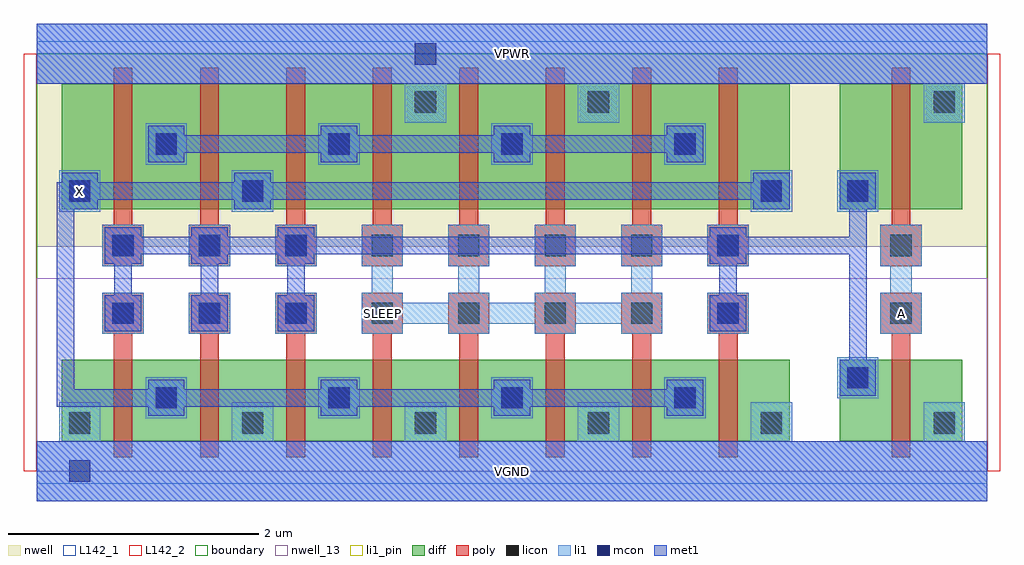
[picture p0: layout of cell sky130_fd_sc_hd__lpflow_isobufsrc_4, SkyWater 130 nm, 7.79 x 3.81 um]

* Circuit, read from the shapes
.subckt sky130_fd_sc_hd__lpflow_isobufsrc_4 A SLEEP VGND VPWR X
XM1 X n1 VGND VSUBS sky130_fd_pr__nfet_01v8 w=0.65 l=0.15 m=4
XM2 VGND SLEEP X VSUBS sky130_fd_pr__nfet_01v8 w=0.65 l=0.15 m=4
XM3 VGND A n1 VSUBS sky130_fd_pr__nfet_01v8 w=0.65 l=0.15
XM4 n2 n1 X n3 sky130_fd_pr__pfet_01v8 w=1 l=0.15 m=4
XM5 VPWR SLEEP n2 n3 sky130_fd_pr__pfet_01v8 w=1 l=0.15 m=4
XM6 VPWR A n1 n3 sky130_fd_pr__pfet_01v8 w=1 l=0.15
.ends

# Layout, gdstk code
import gdstk
lib = gdstk.Library(unit=1e-6, precision=1e-09)
def R(c, l, rs):  # rectangles x0, y0, x1, y1
    for r in rs: c.add(gdstk.rectangle(r[:2], r[2:], *l))
def A(c, l, x, y, w, h, nx, ny, dx, dy):  # array of equal rectangles
    R(c, l, [(x+i*dx, y+j*dy, x+i*dx+w, y+j*dy+h) for i in range(nx) for j in range(ny)])
def P(c, l, *ps):  # polygons
    for p in ps: c.add(gdstk.Polygon(p, *l))
nwell_13 = (64, 13)
nwell = (64, 20)
diff = (65, 20)
poly = (66, 20)
licon = (66, 44)
li1_pin = (67, 16)
li1 = (67, 20)
mcon = (67, 44)
met1 = (68, 20)
L142_1 = (142, 1)
L142_2 = (142, 2)
boundary = (235, 4)

sky130_fd_sc_hd__lpflow_ = lib.new_cell('sky130_fd_sc_hd__lpflow_isobufsrc_4')
R(sky130_fd_sc_hd__lpflow_, nwell_13, [(0,0,7.59,1.54)])
R(sky130_fd_sc_hd__lpflow_, nwell, [(0,1.79,7.59,3.33)])
A(sky130_fd_sc_hd__lpflow_, diff, 0.615, 0.24, 0.69, 0.65, 7, 1, 0.69, 0)
A(sky130_fd_sc_hd__lpflow_, diff, 0.615, 2.09, 0.69, 1, 7, 1, 0.69, 0)
R(sky130_fd_sc_hd__lpflow_, diff, [(0.2,0.24,6.01,0.89), (0.2,0.24,0.615,0.89), (5.445,0.24,6.01,0.89), (6.41,0.24,7.39,0.89), (6.41,0.24,6.825,0.89), (6.825,0.24,7.39,0.89), (0.2,2.09,6.01,3.09), (0.2,2.09,0.615,3.09), (5.445,2.09,6.01,3.09), (6.41,2.09,7.39,3.09), (6.41,2.09,6.825,3.09), (6.825,2.09,7.39,3.09)])
P(sky130_fd_sc_hd__lpflow_, poly, [(2.685,0.11),(2.685,1.095),(2.595,1.095),(2.595,1.425),(2.925,1.425),(2.925,1.095),(2.835,1.095),(2.835,0.11)],
  [(3.375,0.11),(3.375,1.095),(3.285,1.095),(3.285,1.425),(3.615,1.425),(3.615,1.095),(3.525,1.095),(3.525,0.11)],
  [(4.065,0.11),(4.065,1.095),(3.975,1.095),(3.975,1.425),(4.305,1.425),(4.305,1.095),(4.215,1.095),(4.215,0.11)],
  [(4.755,0.11),(4.755,1.095),(4.665,1.095),(4.665,1.425),(4.995,1.425),(4.995,1.095),(4.905,1.095),(4.905,0.11)],
  [(2.595,1.635),(2.595,1.965),(2.685,1.965),(2.685,3.22),(2.835,3.22),(2.835,1.965),(2.925,1.965),(2.925,1.635)],
  [(3.285,1.635),(3.285,1.965),(3.375,1.965),(3.375,3.22),(3.525,3.22),(3.525,1.965),(3.615,1.965),(3.615,1.635)],
  [(3.975,1.635),(3.975,1.965),(4.065,1.965),(4.065,3.22),(4.215,3.22),(4.215,1.965),(4.305,1.965),(4.305,1.635)],
  [(4.665,1.635),(4.665,1.965),(4.755,1.965),(4.755,3.22),(4.905,3.22),(4.905,1.965),(4.995,1.965),(4.995,1.635)],
  [(6.825,0.11),(6.825,1.095),(6.735,1.095),(6.735,1.425),(7.065,1.425),(7.065,1.095),(6.975,1.095),(6.975,0.11)],
  [(6.735,1.635),(6.735,1.965),(6.825,1.965),(6.825,3.22),(6.975,3.22),(6.975,1.965),(7.065,1.965),(7.065,1.635)],
  [(0.615,0.11),(0.615,1.095),(0.525,1.095),(0.525,1.425),(0.855,1.425),(0.855,1.095),(0.765,1.095),(0.765,0.11)],
  [(1.305,0.11),(1.305,1.095),(1.215,1.095),(1.215,1.425),(1.545,1.425),(1.545,1.095),(1.455,1.095),(1.455,0.11)],
  [(1.995,0.11),(1.995,1.095),(1.905,1.095),(1.905,1.425),(2.235,1.425),(2.235,1.095),(2.145,1.095),(2.145,0.11)],
  [(5.445,0.11),(5.445,1.095),(5.355,1.095),(5.355,1.425),(5.685,1.425),(5.685,1.095),(5.595,1.095),(5.595,0.11)],
  [(0.525,1.635),(0.525,1.965),(0.615,1.965),(0.615,3.22),(0.765,3.22),(0.765,1.965),(0.855,1.965),(0.855,1.635)],
  [(1.215,1.635),(1.215,1.965),(1.305,1.965),(1.305,3.22),(1.455,3.22),(1.455,1.965),(1.545,1.965),(1.545,1.635)],
  [(1.905,1.635),(1.905,1.965),(1.995,1.965),(1.995,3.22),(2.145,3.22),(2.145,1.965),(2.235,1.965),(2.235,1.635)],
  [(5.355,1.635),(5.355,1.965),(5.445,1.965),(5.445,3.22),(5.595,3.22),(5.595,1.965),(5.685,1.965),(5.685,1.635)])
A(sky130_fd_sc_hd__lpflow_, licon, 0.26, 0.3, 0.17, 0.17, 6, 1, 1.38, 0)
A(sky130_fd_sc_hd__lpflow_, licon, 0.95, 0.5, 0.17, 0.17, 4, 2, 1.38, 2.025)
A(sky130_fd_sc_hd__lpflow_, licon, 0.605, 1.175, 0.17, 0.17, 8, 2, 0.69, 0.54)
R(sky130_fd_sc_hd__lpflow_, licon, [(6.47,0.66,6.64,0.83), (6.815,1.175,6.985,1.345), (6.815,1.715,6.985,1.885), (0.26,2.15,0.43,2.32), (1.64,2.15,1.81,2.32), (5.78,2.15,5.95,2.32), (6.47,2.15,6.64,2.32), (3.02,2.86,3.19,3.03), (4.4,2.86,4.57,3.03), (7.16,2.86,7.33,3.03)])
R(sky130_fd_sc_hd__lpflow_, li1_pin, [(0,-0.24,7.59,0.24), (0.18,2.07,0.51,2.4), (0,3.09,7.59,3.57)])
P(sky130_fd_sc_hd__lpflow_, li1_pin, [(2.595,1.095),(2.595,1.425),(2.675,1.425),(2.675,1.635),(2.595,1.635),(2.595,1.965),(2.925,1.965),(2.925,1.635),(2.845,1.635),(2.845,1.425),(2.925,1.425),(2.925,1.345),(3.285,1.345),(3.285,1.425),(3.365,1.425),(3.365,1.635),(3.285,1.635),(3.285,1.965),(3.615,1.965),(3.615,1.635),(3.535,1.635),(3.535,1.425),(3.615,1.425),(3.615,1.345),(3.975,1.345),(3.975,1.425),(4.055,1.425),(4.055,1.635),(3.975,1.635),(3.975,1.965),(4.305,1.965),(4.305,1.635),(4.225,1.635),(4.225,1.425),(4.305,1.425),(4.305,1.345),(4.665,1.345),(4.665,1.425),(4.745,1.425),(4.745,1.635),(4.665,1.635),(4.665,1.965),(4.995,1.965),(4.995,1.635),(4.915,1.635),(4.915,1.425),(4.995,1.425),(4.995,1.095),(4.665,1.095),(4.665,1.175),(4.305,1.175),(4.305,1.095),(3.975,1.095),(3.975,1.175),(3.615,1.175),(3.615,1.095),(3.285,1.095),(3.285,1.175),(2.925,1.175),(2.925,1.095)],
  [(6.735,1.095),(6.735,1.425),(6.815,1.425),(6.815,1.635),(6.735,1.635),(6.735,1.965),(7.065,1.965),(7.065,1.635),(6.985,1.635),(6.985,1.425),(7.065,1.425),(7.065,1.095)])
A(sky130_fd_sc_hd__lpflow_, li1, 0.87, 0.42, 0.33, 0.33, 4, 2, 1.38, 2.025)
A(sky130_fd_sc_hd__lpflow_, li1, 0.525, 1.095, 0.33, 0.33, 3, 2, 0.69, 0.54)
R(sky130_fd_sc_hd__lpflow_, li1, [(6.39,0.58,6.72,0.91), (5.355,1.095,5.685,1.425), (5.355,1.635,5.685,1.965), (0.18,2.07,0.51,2.4), (1.56,2.07,1.89,2.4), (5.7,2.07,6.03,2.4), (6.39,2.07,6.72,2.4)])
P(sky130_fd_sc_hd__lpflow_, li1, [(2.595,1.095),(2.595,1.425),(2.675,1.425),(2.675,1.635),(2.595,1.635),(2.595,1.965),(2.925,1.965),(2.925,1.635),(2.845,1.635),(2.845,1.425),(2.925,1.425),(2.925,1.345),(3.285,1.345),(3.285,1.425),(3.365,1.425),(3.365,1.635),(3.285,1.635),(3.285,1.965),(3.615,1.965),(3.615,1.635),(3.535,1.635),(3.535,1.425),(3.615,1.425),(3.615,1.345),(3.975,1.345),(3.975,1.425),(4.055,1.425),(4.055,1.635),(3.975,1.635),(3.975,1.965),(4.305,1.965),(4.305,1.635),(4.225,1.635),(4.225,1.425),(4.305,1.425),(4.305,1.345),(4.665,1.345),(4.665,1.425),(4.745,1.425),(4.745,1.635),(4.665,1.635),(4.665,1.965),(4.995,1.965),(4.995,1.635),(4.915,1.635),(4.915,1.425),(4.995,1.425),(4.995,1.095),(4.665,1.095),(4.665,1.175),(4.305,1.175),(4.305,1.095),(3.975,1.095),(3.975,1.175),(3.615,1.175),(3.615,1.095),(3.285,1.095),(3.285,1.175),(2.925,1.175),(2.925,1.095)],
  [(2.94,2.78),(2.94,3.09),(0,3.09),(0,3.57),(7.59,3.57),(7.59,3.09),(7.41,3.09),(7.41,2.78),(7.08,2.78),(7.08,3.09),(4.65,3.09),(4.65,2.78),(4.32,2.78),(4.32,3.09),(3.27,3.09),(3.27,2.78)],
  [(0,-0.24),(0,0.24),(0.18,0.24),(0.18,0.55),(0.51,0.55),(0.51,0.24),(1.56,0.24),(1.56,0.55),(1.89,0.55),(1.89,0.24),(2.94,0.24),(2.94,0.55),(3.27,0.55),(3.27,0.24),(4.32,0.24),(4.32,0.55),(4.65,0.55),(4.65,0.24),(5.7,0.24),(5.7,0.55),(6.03,0.55),(6.03,0.24),(7.08,0.24),(7.08,0.55),(7.41,0.55),(7.41,0.24),(7.59,0.24),(7.59,-0.24)],
  [(6.735,1.095),(6.735,1.425),(6.815,1.425),(6.815,1.635),(6.735,1.635),(6.735,1.965),(7.065,1.965),(7.065,1.635),(6.985,1.635),(6.985,1.425),(7.065,1.425),(7.065,1.095)])
A(sky130_fd_sc_hd__lpflow_, mcon, 0.95, 0.5, 0.17, 0.17, 4, 2, 1.38, 2.025)
A(sky130_fd_sc_hd__lpflow_, mcon, 0.605, 1.175, 0.17, 0.17, 3, 2, 0.69, 0.54)
R(sky130_fd_sc_hd__lpflow_, mcon, [(0.26,-0.085,0.43,0.085), (6.47,0.66,6.64,0.83), (5.435,1.175,5.605,1.345), (5.435,1.715,5.605,1.885), (0.26,2.15,0.43,2.32), (1.64,2.15,1.81,2.32), (5.78,2.15,5.95,2.32), (6.47,2.15,6.64,2.32), (3.02,3.245,3.19,3.415)])
R(sky130_fd_sc_hd__lpflow_, met1, [(0,-0.24,7.59,0.24), (0,3.09,7.59,3.57)])
P(sky130_fd_sc_hd__lpflow_, met1, [(0.89,2.465),(0.89,2.755),(1.18,2.755),(1.18,2.68),(2.27,2.68),(2.27,2.755),(2.56,2.755),(2.56,2.68),(3.65,2.68),(3.65,2.755),(3.94,2.755),(3.94,2.68),(5.03,2.68),(5.03,2.755),(5.32,2.755),(5.32,2.465),(5.03,2.465),(5.03,2.54),(3.94,2.54),(3.94,2.465),(3.65,2.465),(3.65,2.54),(2.56,2.54),(2.56,2.465),(2.27,2.465),(2.27,2.54),(1.18,2.54),(1.18,2.465)],
  [(6.41,0.6),(6.41,0.89),(6.485,0.89),(6.485,1.73),(5.665,1.73),(5.665,1.655),(5.59,1.655),(5.59,1.405),(5.665,1.405),(5.665,1.115),(5.375,1.115),(5.375,1.405),(5.45,1.405),(5.45,1.655),(5.375,1.655),(5.375,1.73),(2.215,1.73),(2.215,1.655),(2.14,1.655),(2.14,1.405),(2.215,1.405),(2.215,1.115),(1.925,1.115),(1.925,1.405),(2,1.405),(2,1.655),(1.925,1.655),(1.925,1.73),(1.525,1.73),(1.525,1.655),(1.45,1.655),(1.45,1.405),(1.525,1.405),(1.525,1.115),(1.235,1.115),(1.235,1.405),(1.31,1.405),(1.31,1.655),(1.235,1.655),(1.235,1.73),(0.835,1.73),(0.835,1.655),(0.76,1.655),(0.76,1.405),(0.835,1.405),(0.835,1.115),(0.545,1.115),(0.545,1.405),(0.62,1.405),(0.62,1.655),(0.545,1.655),(0.545,1.945),(0.835,1.945),(0.835,1.87),(1.235,1.87),(1.235,1.945),(1.525,1.945),(1.525,1.87),(1.925,1.87),(1.925,1.945),(2.215,1.945),(2.215,1.87),(5.375,1.87),(5.375,1.945),(5.665,1.945),(5.665,1.87),(6.485,1.87),(6.485,2.09),(6.41,2.09),(6.41,2.38),(6.7,2.38),(6.7,2.09),(6.625,2.09),(6.625,0.89),(6.7,0.89),(6.7,0.6)],
  [(0.89,0.44),(0.89,0.515),(0.16,0.515),(0.16,2.305),(0.2,2.305),(0.2,2.38),(0.49,2.38),(0.49,2.305),(1.58,2.305),(1.58,2.38),(1.87,2.38),(1.87,2.305),(5.72,2.305),(5.72,2.38),(6.01,2.38),(6.01,2.09),(5.72,2.09),(5.72,2.165),(1.87,2.165),(1.87,2.09),(1.58,2.09),(1.58,2.165),(0.49,2.165),(0.49,2.09),(0.3,2.09),(0.3,0.655),(0.89,0.655),(0.89,0.73),(1.18,0.73),(1.18,0.655),(2.27,0.655),(2.27,0.73),(2.56,0.73),(2.56,0.655),(3.65,0.655),(3.65,0.73),(3.94,0.73),(3.94,0.655),(5.03,0.655),(5.03,0.73),(5.32,0.73),(5.32,0.44),(5.03,0.44),(5.03,0.515),(3.94,0.515),(3.94,0.44),(3.65,0.44),(3.65,0.515),(2.56,0.515),(2.56,0.44),(2.27,0.44),(2.27,0.515),(1.18,0.515),(1.18,0.44)])
R(sky130_fd_sc_hd__lpflow_, L142_1, [(0,-0.1,7.59,0), (0,3.33,7.59,3.43)])
R(sky130_fd_sc_hd__lpflow_, L142_2, [(-0.1,0,0,3.33), (7.59,0,7.69,3.33)])
R(sky130_fd_sc_hd__lpflow_, boundary, [(0,0,7.59,3.33)])
sky130_fd_sc_hd__lpflow_.add(gdstk.Label('X', (0.345,2.235), layer=67, texttype=5))
sky130_fd_sc_hd__lpflow_.add(gdstk.Label('SLEEP', (2.76,1.26), layer=67, texttype=5))
sky130_fd_sc_hd__lpflow_.add(gdstk.Label('A', (6.9,1.26), layer=67, texttype=5))
sky130_fd_sc_hd__lpflow_.add(gdstk.Label('VGND', (3.795,0), layer=67, texttype=5))
sky130_fd_sc_hd__lpflow_.add(gdstk.Label('VPWR', (3.795,3.33), layer=67, texttype=5))
sky130_fd_sc_hd__lpflow_.add(gdstk.Label('VGND', (3.795,0), layer=68, texttype=5))
sky130_fd_sc_hd__lpflow_.add(gdstk.Label('VPWR', (3.795,3.33), layer=68, texttype=5))

lib.write_gds('sky130_fd_sc_hd__lpflow_isobufsrc_4.gds')
